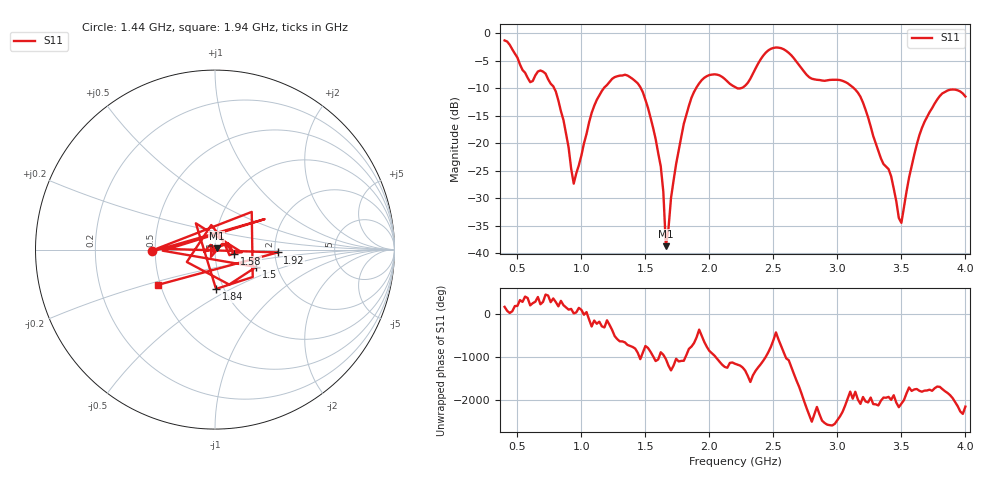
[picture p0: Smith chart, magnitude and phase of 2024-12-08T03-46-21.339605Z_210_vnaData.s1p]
!Created with skrf (http://scikit-rf.org).
# Hz S RI R 50.0
!freq ReS11 ImS11
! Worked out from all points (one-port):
!   181 points, 400 MHz to 4 GHz, reference 50 ohm
!   lowest |S11| = -38.7 dB at 1.66 GHz (marker M1), VSWR 1.02, Z = 51 + j0.65 ohm
!   |S11| at or under -10 dB: 787.7 MHz to 1.175 GHz (387 MHz wide, 39.4 % of centre); 1.465 GHz to 1.896 GHz (430.6 MHz wide, 25.6 % of centre); 3.129 GHz to end of sweep (the widest 3 of 4)
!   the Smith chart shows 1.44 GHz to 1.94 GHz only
!   S11 on the Smith chart (normalised r, x): 1.44 GHz: 0.48, -0.01; 1.5 GHz: 1.55, -0.32; 1.58 GHz: 1.24, -0.06; 1.84 GHz: 0.92, -0.42; 1.92 GHz: 2.08, -0.07; 1.94 GHz: 0.48, -0.22
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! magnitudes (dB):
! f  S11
! 400 MHz  -1.3
! 600 MHz  -8.9
! 720 MHz  -7.3
! 860 MHz  -15.8
! 940 MHz  -27.3
! 1.1 GHz  -13.2
! 1.3 GHz  -7.7
! 1.44 GHz  -9.1
! 1.5 GHz  -12.1
! 1.58 GHz  -19.2
! 1.64 GHz  -28.8
! 1.66 GHz  -38.7
! 1.76 GHz  -21.3
! 1.84 GHz  -13.2
! 1.92 GHz  -9.1
! 1.94 GHz  -8.5
! 2.2 GHz  -9.8
! 2.48 GHz  -2.8
! 2.66 GHz  -4.5
! 2.8 GHz  -8.3
! 3.1 GHz  -9.4
! 3.18 GHz  -11.5
! 3.4 GHz  -24.7
! 3.5 GHz  -34.5
! 3.56 GHz  -26.2
! 3.66 GHz  -17.2
! 3.78 GHz  -12.0
! 4 GHz  -11.5
